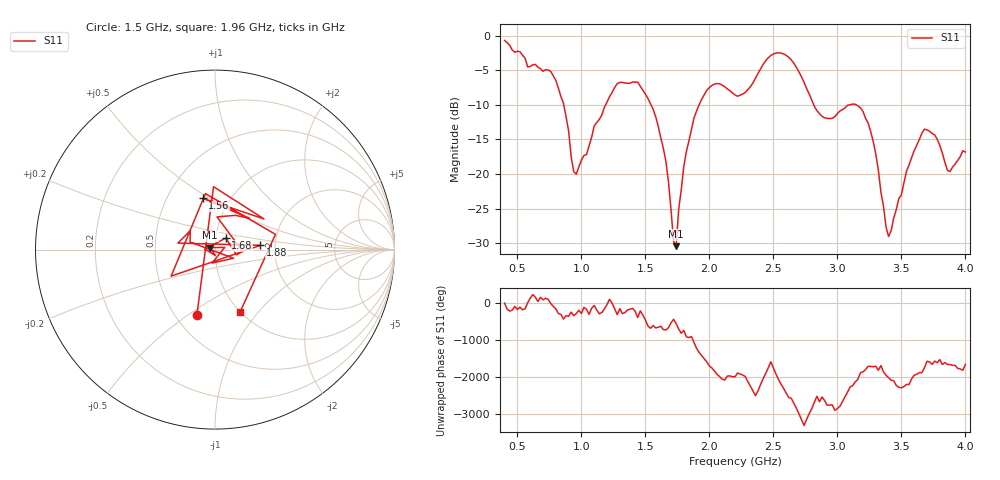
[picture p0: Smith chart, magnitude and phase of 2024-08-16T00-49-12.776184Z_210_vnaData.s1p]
!Created with skrf (http://scikit-rf.org).
# Hz S RI R 50.0
!freq ReS11 ImS11
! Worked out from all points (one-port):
!   181 points, 400 MHz to 4 GHz, reference 50 ohm
!   lowest |S11| = -30.4 dB at 1.74 GHz (marker M1), VSWR 1.06, Z = 47.3 + j1.05 ohm
!   |S11| at or under -10 dB: 862.2 MHz to 1.189 GHz (327.2 MHz wide, 31.9 % of centre); 1.544 GHz to 1.92 GHz (375.9 MHz wide, 21.7 % of centre); 3.147 GHz to end of sweep (the widest 3 of 4)
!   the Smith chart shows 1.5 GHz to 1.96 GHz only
!   S11 on the Smith chart (normalised r, x): 1.5 GHz: 0.64, -0.54; 1.56 GHz: 0.75, +0.47; 1.68 GHz: 1.12, +0.15; 1.88 GHz: 1.68, +0.09; 1.96 GHz: 1.00, -0.81
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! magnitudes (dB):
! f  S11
! 400 MHz  -0.7
! 760 MHz  -5.2
! 860 MHz  -9.8
! 940 MHz  -19.6
! 960 MHz  -20.0
! 1.3 GHz  -6.8
! 1.5 GHz  -8.5
! 1.56 GHz  -10.6
! 1.68 GHz  -21.1
! 1.72 GHz  -29.7
! 1.74 GHz  -30.4
! 1.76 GHz  -25.1
! 1.8 GHz  -18.9
! 1.88 GHz  -11.9
! 1.96 GHz  -8.5
! 2.06 GHz  -6.9
! 2.2 GHz  -8.6
! 2.5 GHz  -2.7
! 2.66 GHz  -4.0
! 2.88 GHz  -11.7
! 3.1 GHz  -10.0
! 3.26 GHz  -13.9
! 3.4 GHz  -29.0
! 3.56 GHz  -18.7
! 3.68 GHz  -13.5
! 3.78 GHz  -15.0
! 3.86 GHz  -19.5
! 4 GHz  -16.8
